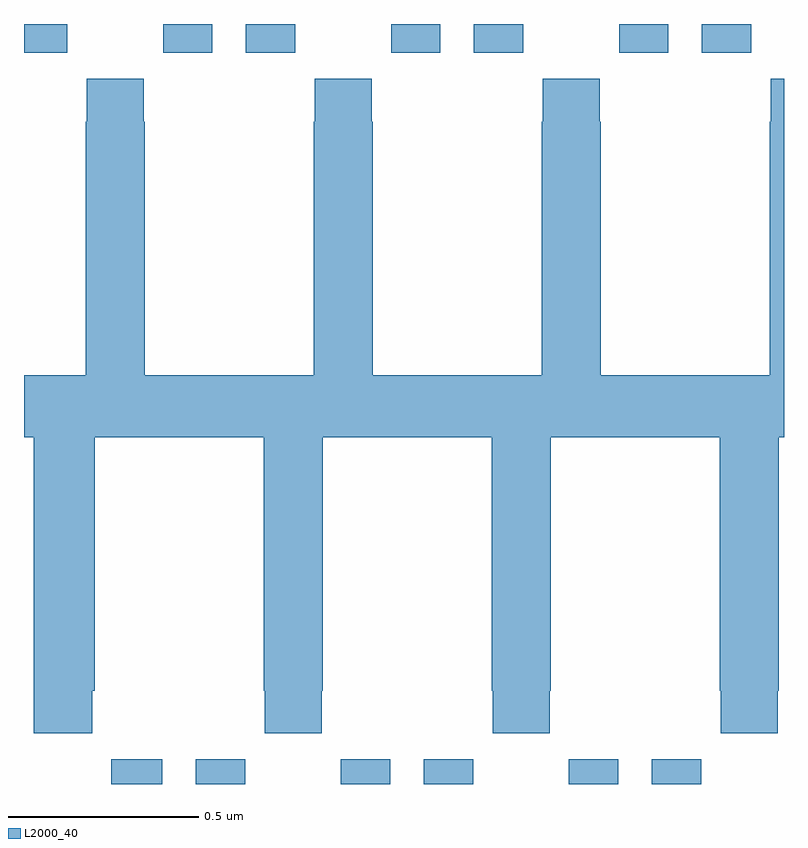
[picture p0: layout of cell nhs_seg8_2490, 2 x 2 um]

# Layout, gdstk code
import gdstk
lib = gdstk.Library(unit=1e-6, precision=1e-09)
def R(c, l, rs):  # rectangles x0, y0, x1, y1
    for r in rs: c.add(gdstk.rectangle(r[:2], r[2:], *l))
def P(c, l, *ps):  # polygons
    for p in ps: c.add(gdstk.Polygon(p, *l))
L2000_40 = (2000, 40)

nhs_seg8_2490 = lib.new_cell('nhs_seg8_2490')
R(nhs_seg8_2490, L2000_40, [(144.23,1136.9,144.364,1136.965), (144.452,1136.9,144.582,1136.965), (144.834,1136.9,144.964,1136.965), (145.052,1136.9,145.182,1136.965), (145.434,1136.9,145.564,1136.965), (145.652,1136.9,145.782,1136.965), (144,1138.824,144.114,1138.9), (144.366,1138.824,144.496,1138.9), (144.584,1138.824,144.714,1138.9), (144.966,1138.824,145.096,1138.9), (145.184,1138.824,145.314,1138.9), (145.566,1138.824,145.696,1138.9), (145.784,1138.824,145.914,1138.9)])
P(nhs_seg8_2490, L2000_40, [(144.179,1137.145),(144.186,1137.145),(144.186,1137.812),(144.631,1137.812),(144.631,1137.145),(144.633,1137.145),(144.633,1137.033),(144.783,1137.033),(144.783,1137.145),(144.786,1137.145),(144.786,1137.812),(145.231,1137.812),(145.231,1137.145),(145.233,1137.145),(145.233,1137.033),(145.383,1137.033),(145.383,1137.145),(145.386,1137.145),(145.386,1137.812),(145.831,1137.812),(145.831,1137.145),(145.833,1137.145),(145.833,1137.033),(145.983,1137.033),(145.983,1137.145),(145.986,1137.145),(145.986,1137.812),(146,1137.812),(146,1138.756),(145.965,1138.756),(145.965,1138.643),(145.963,1138.643),(145.963,1137.976),(145.518,1137.976),(145.518,1138.643),(145.515,1138.643),(145.515,1138.756),(145.365,1138.756),(145.365,1138.643),(145.363,1138.643),(145.363,1137.976),(144.918,1137.976),(144.918,1138.643),(144.915,1138.643),(144.915,1138.756),(144.765,1138.756),(144.765,1138.643),(144.763,1138.643),(144.763,1137.976),(144.318,1137.976),(144.318,1138.643),(144.315,1138.643),(144.315,1138.756),(144.165,1138.756),(144.165,1138.643),(144.163,1138.643),(144.163,1137.976),(144,1137.976),(144,1137.812),(144.026,1137.812),(144.026,1137.033),(144.179,1137.033)])

lib.write_gds('nhs_seg8_2490.gds')
